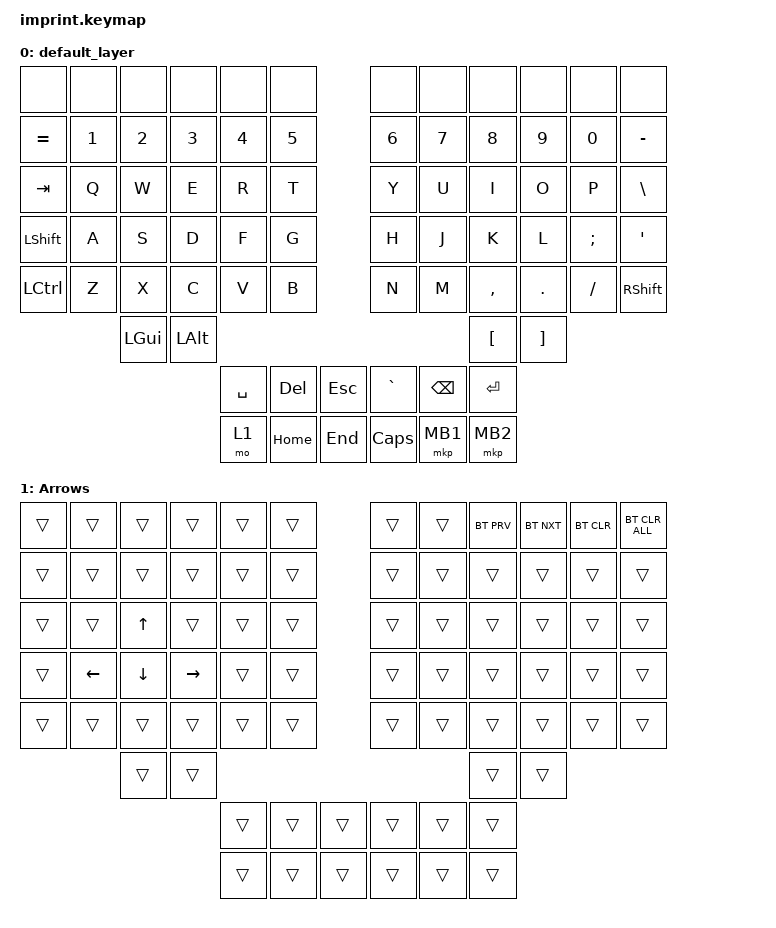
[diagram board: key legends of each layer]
#include <input/processors.dtsi>
#include <dt-bindings/zmk/input_transform.h>
#include <behaviors.dtsi>
#include <dt-bindings/zmk/keys.h>
#include <dt-bindings/zmk/pointing.h>
#include <dt-bindings/zmk/bt.h>

/ {
    chosen { zmk,matrix-transform = &imprint_function_row; };

    keymap {
        compatible = "zmk,keymap";

        default_layer {
            bindings = <
&none      &none   &none     &none     &none      &none                &none      &none     &none      &none     &none     &none
&kp EQUAL  &kp N1  &kp N2    &kp N3    &kp N4     &kp N5               &kp N6     &kp N7    &kp N8     &kp N9    &kp N0    &kp MINUS
&kp TAB    &kp Q   &kp W     &kp E     &kp R      &kp T                &kp Y      &kp U     &kp I      &kp O     &kp P     &kp BSLH
&kp LSHFT  &kp A   &kp S     &kp D     &kp F      &kp G                &kp H      &kp J     &kp K      &kp L     &kp SEMI  &kp SQT
&kp LCTRL  &kp Z   &kp X     &kp C     &kp V      &kp B                &kp N      &kp M     &kp COMMA  &kp DOT   &kp FSLH  &kp RSHFT
                   &kp LGUI  &kp LALT                                                       &kp LBKT   &kp RBKT
                                       &kp SPACE  &kp DEL   &kp ESC    &kp GRAVE  &kp BSPC  &kp RET
                                       &mo 1      &kp HOME  &kp END    &kp CAPS   &mkp MB1  &mkp MB2
            >;
        };

        Arrows {
            bindings = <
&trans  &trans      &trans        &trans      &trans  &trans            &trans  &trans  &bt BT_PRV     &bt BT_NXT     &bt BT_CLR     &bt BT_CLR_ALL
&trans  &trans      &trans        &trans      &trans  &trans            &trans  &trans  &trans         &trans         &trans         &trans
&trans  &trans      &kp UP_ARROW  &trans      &trans  &trans            &trans  &trans  &trans         &trans         &trans         &trans
&trans  &kp LEFT    &kp DOWN      &kp RIGHT   &trans  &trans            &trans  &trans  &trans         &trans         &trans         &trans
&trans  &trans      &trans        &trans      &trans  &trans            &trans  &trans  &trans         &trans         &trans         &trans
                                  &trans      &trans                                    &trans         &trans
                                        &trans         &trans         &trans              &trans         &trans         &trans
                                        &trans         &trans         &trans              &trans         &trans         &trans

            >;
        };
    };
};

// right hand trackball configuration
// &trackball_peripheral_listener {
//    input-processors =
//     activate layer 3 within 500ms of the trackball moving
//     <&zip_temp_layer 3 500>;
// };
//left hand trackball configuration

&trackball_central_listener {
    input-processors =
        // multiply sensitivity by 1, divide by 3 (make it slower for scrolling),,
        <&zip_xy_scaler 1 3>,
        // make this trackball output scrolling events by default instead of cursor movement,,
        <&zip_xy_to_scroll_mapper>,
        // invert vertical scrolling so that the view moves in the same direction as the top of the trackball.,,
        <&zip_scroll_transform INPUT_TRANSFORM_Y_INVERT>;
};
